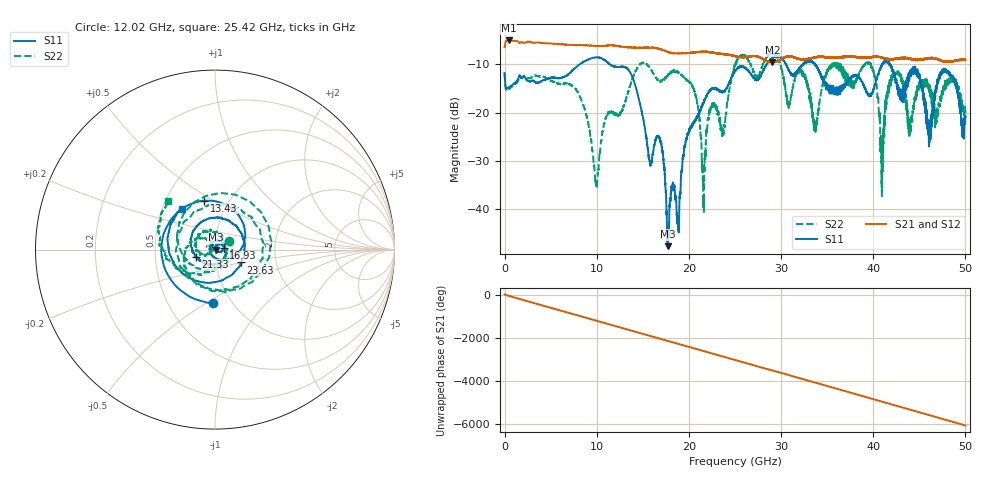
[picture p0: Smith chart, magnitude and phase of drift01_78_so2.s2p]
!Created with skrf (http://scikit-rf.org).
# Hz S RI R 50.0
!freq ReS11 ImS11 ReS21 ImS21 ReS12 ImS12 ReS22 ImS22
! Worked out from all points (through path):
!   10001 points, 300 kHz to 50 GHz, reference 50 ohm
!   highest |S21| = -5.05 dB at 425.3 MHz (marker M1); lowest = -9.6 dB at 29.06 GHz (marker M2)
!   group delay of S21, straight-line fit = 336 ps
!   lowest |S11| = -47.6 dB at 17.69 GHz (marker M3), VSWR 1.01, Z = 50.4 - j0.123 ohm
!   |S11| at or under -10 dB: start of sweep to 8.153 GHz; 11.43 GHz to 28.42 GHz (16.99 GHz wide, 85.3 % of centre); 41.82 GHz to end of sweep (the widest 3 of 16)
!   |S22| runs from -40.9 to -7.6 dB; largest |S21 - S12| = 0.015
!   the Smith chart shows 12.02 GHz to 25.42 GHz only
!   S11 on the Smith chart (normalised r, x): 12.02 GHz: 0.82, -0.54; 13.43 GHz: 0.77, +0.46; 16.93 GHz: 1.10, +0.02; 21.33 GHz: 0.81, -0.07; 23.63 GHz: 1.32, -0.19; 25.42 GHz: 0.63, +0.31
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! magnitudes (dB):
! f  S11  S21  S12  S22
! 300 kHz  -11.8  -6.4  -6.5  -11.8
! 425.3 MHz  -14.8  -5.1  -5.1  -15.2
! 8.335 GHz  -9.7  -6.0  -6.0  -17.4
! 9.95 GHz  -8.6  -6.2  -6.2  -34.9
! 12.02 GHz  -10.5  -6.1  -6.1  -20.5
! 13.43 GHz  -11.1  -6.5  -6.5  -15.6
! 15.76 GHz  -30.2  -6.5  -6.5  -10.8
! 16.67 GHz  -24.8  -6.7  -6.7  -13.3
! 16.93 GHz  -26.2  -6.9  -6.9  -13.3
! 17.69 GHz  -47.6  -7.4  -7.4  -12.3
! 20.43 GHz  -22.6  -7.6  -7.6  -14.8
! 21.33 GHz  -19.0  -7.4  -7.4  -25.9
! 23.63 GHz  -15.8  -7.8  -7.8  -23.9
! 25 GHz  -11.4  -8.3  -8.3  -10.1
! 25.42 GHz  -10.7  -8.5  -8.5  -8.5
! 29.06 GHz  -8.7  -9.6  -9.6  -7.8
! 33.34 GHz  -9.4  -8.7  -8.7  -19.2
! 39.48 GHz  -16.2  -8.6  -8.6  -9.8
! 40.97 GHz  -10.1  -8.6  -8.6  -27.5
! 41.67 GHz  -9.5  -8.8  -9.0  -14.3
! 48.04 GHz  -11.7  -9.3  -9.4  -13.9
! 50 GHz  -20.7  -9.1  -9.1  -19.9
